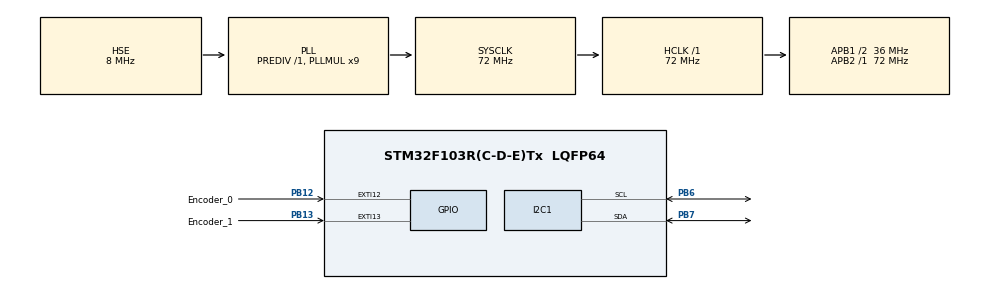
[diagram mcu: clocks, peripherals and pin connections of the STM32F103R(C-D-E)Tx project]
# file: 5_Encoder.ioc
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FREERTOS.Tasks01=Encoder,24,256,Encoder_Entry,Default,NULL,Dynamic,NULL,NULL
I2C1.I2C_Mode=I2C_Fast
Mcu.Family=STM32F1
Mcu.Name=STM32F103R(C-D-E)Tx
Mcu.Package=LQFP64
NVIC.EXTI15_10_IRQn=true\:15\:0\:true\:false\:true\:true\:true\:true\:true
NVIC.PriorityGroup=NVIC_PRIORITYGROUP_4
NVIC.TIM7_IRQn=true\:15\:0\:true\:false\:true\:false\:false\:true\:true
NVIC.TimeBase=TIM7_IRQn
NVIC.TimeBaseIP=TIM7
PA13.Mode=Serial_Wire
PA13.Signal=SYS_JTMS-SWDIO
PA14.Mode=Serial_Wire
PA14.Signal=SYS_JTCK-SWCLK
PB12.GPIO_Label=Encoder_0
PB12.GPIO_ModeDefaultEXTI=GPIO_MODE_IT_FALLING
PB12.GPIO_PuPd=GPIO_PULLUP
PB12.Signal=GPXTI12
PB13.GPIO_Label=Encoder_1
PB13.GPIO_ModeDefaultEXTI=GPIO_MODE_IT_FALLING
PB13.GPIO_PuPd=GPIO_PULLUP
PB13.Signal=GPXTI13
PB6.Mode=I2C
PB6.Signal=I2C1_SCL
PB7.Mode=I2C
PB7.Signal=I2C1_SDA
PC14-OSC32_IN.Mode=LSE-External-Oscillator
PC14-OSC32_IN.Signal=RCC_OSC32_IN
PC15-OSC32_OUT.Mode=LSE-External-Oscillator
PC15-OSC32_OUT.Signal=RCC_OSC32_OUT
PD0-OSC_IN.Mode=HSE-External-Oscillator
PD0-OSC_IN.Signal=RCC_OSC_IN
PD1-OSC_OUT.Mode=HSE-External-Oscillator
PD1-OSC_OUT.Signal=RCC_OSC_OUT
ProjectManager.HeapSize=0x200
ProjectManager.StackSize=0x400
ProjectManager.TargetToolchain=MDK-ARM V5.32
RCC.AHBFreq_Value=72000000
RCC.APB1CLKDivider=RCC_HCLK_DIV2
RCC.APB1Freq_Value=36000000
RCC.APB1TimFreq_Value=72000000
RCC.APB2Freq_Value=72000000
RCC.APB2TimFreq_Value=72000000
RCC.HCLKFreq_Value=72000000
RCC.PLLMUL=RCC_PLL_MUL9
RCC.PLLSourceVirtual=RCC_PLLSOURCE_HSE
RCC.SYSCLKFreq_VALUE=72000000
RCC.SYSCLKSource=RCC_SYSCLKSOURCE_PLLCLK
RCC.USBFreq_Value=72000000
VP_FREERTOS_VS_CMSIS_V2.Mode=CMSIS_V2
VP_SYS_VS_tim7.Mode=TIM7
board=custom

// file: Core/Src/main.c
/* USER CODE BEGIN Header */
/**
  ******************************************************************************
  * @file           : main.c
  * @brief          : Main program body
  ******************************************************************************
  * @attention
  *
  * Copyright (c) 2023 STMicroelectronics.
  * All rights reserved.
  *
  * This software is licensed under terms that can be found in the LICENSE file
  * in the root directory of this software component.
  * If no LICENSE file comes with this software, it is provided AS-IS.
  *
  ******************************************************************************
  */
/* USER CODE END Header */
#include "main.h"
#include "cmsis_os.h"
#include "i2c.h"
#include "gpio.h"

/* USER CODE BEGIN Includes */
#include "oled.h"
/* USER CODE END Includes */

void SystemClock_Config(void);
void MX_FREERTOS_Init(void);

int main(void)
{

  /* MCU Configuration--------------------------------------------------------*/

  /* Reset of all peripherals, Initializes the Flash interface and the Systick. */
  HAL_Init();

  /* Configure the system clock */
  SystemClock_Config();

  /* Initialize all configured peripherals */
  MX_GPIO_Init();
  MX_I2C1_Init();

  /* Init scheduler */
  osKernelInitialize();

  /* Call init function for freertos objects (in freertos.c) */
  MX_FREERTOS_Init();

  /* Start scheduler */
  osKernelStart();

  /* We should never get here as control is now taken by the scheduler */
  /* Infinite loop */
  while (1)
  {

  }
}

void SystemClock_Config(void)
{
  RCC_OscInitTypeDef RCC_OscInitStruct = {0};
  RCC_ClkInitTypeDef RCC_ClkInitStruct = {0};

  /** Initializes the RCC Oscillators according to the specified parameters
  * in the RCC_OscInitTypeDef structure.
  */
  RCC_OscInitStruct.OscillatorType = RCC_OSCILLATORTYPE_HSE;
  RCC_OscInitStruct.HSEState = RCC_HSE_ON;
  RCC_OscInitStruct.HSEPredivValue = RCC_HSE_PREDIV_DIV1;
  RCC_OscInitStruct.HSIState = RCC_HSI_ON;
  RCC_OscInitStruct.PLL.PLLState = RCC_PLL_ON;
  RCC_OscInitStruct.PLL.PLLSource = RCC_PLLSOURCE_HSE;
  RCC_OscInitStruct.PLL.PLLMUL = RCC_PLL_MUL9;
  if (HAL_RCC_OscConfig(&RCC_OscInitStruct) != HAL_OK)
  {
    Error_Handler();
  }

  /** Initializes the CPU, AHB and APB buses clocks
  */
  RCC_ClkInitStruct.ClockType = RCC_CLOCKTYPE_HCLK|RCC_CLOCKTYPE_SYSCLK
                              |RCC_CLOCKTYPE_PCLK1|RCC_CLOCKTYPE_PCLK2;
  RCC_ClkInitStruct.SYSCLKSource = RCC_SYSCLKSOURCE_PLLCLK;
  RCC_ClkInitStruct.AHBCLKDivider = RCC_SYSCLK_DIV1;
  RCC_ClkInitStruct.APB1CLKDivider = RCC_HCLK_DIV2;
  RCC_ClkInitStruct.APB2CLKDivider = RCC_HCLK_DIV1;

  if (HAL_RCC_ClockConfig(&RCC_ClkInitStruct, FLASH_LATENCY_2) != HAL_OK)
  {
    Error_Handler();
  }
}

void HAL_TIM_PeriodElapsedCallback(TIM_HandleTypeDef *htim)
{
  if (htim->Instance == TIM7) {
    HAL_IncTick();
  }
}

void Error_Handler(void)
{
  __disable_irq();
  while (1)
  {
  }
}

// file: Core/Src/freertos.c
/* USER CODE BEGIN Header */
/**
  ******************************************************************************
  * File Name          : freertos.c
  * Description        : Code for freertos applications
  ******************************************************************************
  * @attention
  *
  * Copyright (c) 2023 STMicroelectronics.
  * All rights reserved.
  *
  * This software is licensed under terms that can be found in the LICENSE file
  * in the root directory of this software component.
  * If no LICENSE file comes with this software, it is provided AS-IS.
  *
  ******************************************************************************
  */
/* USER CODE END Header */

#include "FreeRTOS.h"
#include "task.h"
#include "main.h"
#include "cmsis_os.h"

/* USER CODE BEGIN Includes */
#include "oled.h"
/* USER CODE END Includes */

/* USER CODE BEGIN Variables */
int32_t Encoder_count = 0;
/* USER CODE END Variables */
/* Definitions for Encoder */
osThreadId_t EncoderHandle;
const osThreadAttr_t Encoder_attributes = {
  .name = "Encoder",
  .stack_size = 256 * 4,
  .priority = (osPriority_t) osPriorityNormal,
};

void Encoder_Entry(void *argument);

void MX_FREERTOS_Init(void); /* (MISRA C 2004 rule 8.1) */

void MX_FREERTOS_Init(void) {

  /* Create the thread(s) */
  /* creation of Encoder */
  EncoderHandle = osThreadNew(Encoder_Entry, NULL, &Encoder_attributes);

}

void Encoder_Entry(void *argument)
{
  /* USER CODE BEGIN Encoder_Entry */
  OLED_Init();
  OLED_Display_On();
  OLED_Clear();
  OLED_ShowString(0,0,"Num:",16,0);
  /* Infinite loop */
  for(;;)
  {
    OLED_ShowSignedNum(32,0,Encoder_count,5,16,0);
    osDelay(10);
  }
  /* USER CODE END Encoder_Entry */
}

/* USER CODE BEGIN Application */
//DT引脚接PB12, clk引脚接PB13,根据时序完成对应的判断
void HAL_GPIO_EXTI_Callback(uint16_t GPIO_Pin)
{
    if(GPIO_Pin == Encoder_0_Pin)
    {
        if(HAL_GPIO_ReadPin(Encoder_1_GPIO_Port, Encoder_1_Pin) == GPIO_PIN_RESET)
        {
            Encoder_count++;
        }
    }
    if(GPIO_Pin == Encoder_1_Pin)
    {
        if(HAL_GPIO_ReadPin(Encoder_0_GPIO_Port, Encoder_0_Pin) == GPIO_PIN_RESET)
        {
            Encoder_count--;
        }
    }
}
/* USER CODE END Application */
